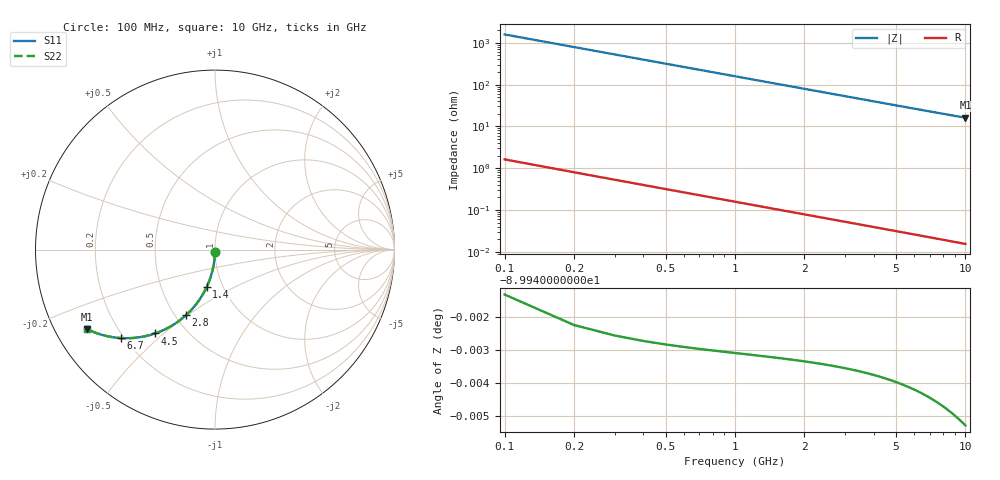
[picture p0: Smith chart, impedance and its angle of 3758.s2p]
# Hz S RI R 50.00
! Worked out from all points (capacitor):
!   100 points, 100 MHz to 10 GHz, reference 50 ohm
!   read as one part in shunt: C = 1 pF near 100 MHz
!   lowest |Z| = 16.1 ohm at 10 GHz (marker M1)
!   S11 on the Smith chart (normalised r, x): 100 MHz: 1.00, -0.03; 1.4 GHz: 0.84, -0.37; 2.8 GHz: 0.56, -0.49; 4.5 GHz: 0.34, -0.47; 6.7 GHz: 0.19, -0.38; 10 GHz: 0.09, -0.28
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1e8  -0.00024 -0.0157  0.9997 -0.0159  0.9997 -0.0159  -0.00024 -0.0157
2e8  -0.001 -0.0313  0.9989 -0.0317  0.9989 -0.0317  -0.001 -0.0313
3e8  -0.00225 -0.0469  0.9977 -0.0475  0.9977 -0.0475  -0.00225 -0.0469
4e8  -0.004 -0.0625  0.996 -0.0632  0.996 -0.0632  -0.004 -0.0625
5e8  -0.00623 -0.0779  0.9937 -0.0788  0.9937 -0.0788  -0.00623 -0.0779
6e8  -0.00894 -0.0932  0.991 -0.0943  0.991 -0.0943  -0.00894 -0.0932
7e8  -0.0121 -0.1084  0.9878 -0.1096  0.9878 -0.1096  -0.0121 -0.1084
9e8  -0.0198 -0.1383  0.9801 -0.1398  0.9801 -0.1398  -0.0198 -0.1383
1.1e9  -0.0293 -0.1673  0.9706 -0.1693  0.9706 -0.1693  -0.0293 -0.1673
1.4e9  -0.0466 -0.2091  0.9533 -0.2116  0.9533 -0.2116  -0.0466 -0.2091
1.8e9  -0.0747 -0.2608  0.9253 -0.264  0.9253 -0.264  -0.0747 -0.2608
2.3e9  -0.1163 -0.3181  0.8836 -0.3222  0.8836 -0.3222  -0.1163 -0.3181
2.8e9  -0.1631 -0.3665  0.8368 -0.3715  0.8368 -0.3715  -0.1631 -0.3665
3.4e9  -0.2231 -0.4128  0.7769 -0.4189  0.7769 -0.4189  -0.2231 -0.4128
3.9e9  -0.274 -0.4421  0.7259 -0.449  0.7259 -0.449  -0.274 -0.4421
4.5e9  -0.3343 -0.4672  0.6656 -0.4753  0.6656 -0.4753  -0.3343 -0.4672
5.1e9  -0.392 -0.4831  0.6079 -0.4923  0.6079 -0.4923  -0.392 -0.4831
5.9e9  -0.463 -0.4928  0.5369 -0.5035  0.5369 -0.5035  -0.463 -0.4928
6.7e9  -0.5263 -0.4927  0.4735 -0.5049  0.4735 -0.5049  -0.5263 -0.4927
7.5e9  -0.5819 -0.4859  0.4179 -0.4995  0.4179 -0.4995  -0.5819 -0.4859
8.4e9  -0.6357 -0.473  0.3641 -0.4884  0.3641 -0.4884  -0.6357 -0.473
1e10  -0.7121 -0.443  0.2877 -0.4614  0.2877 -0.4614  -0.7121 -0.443
